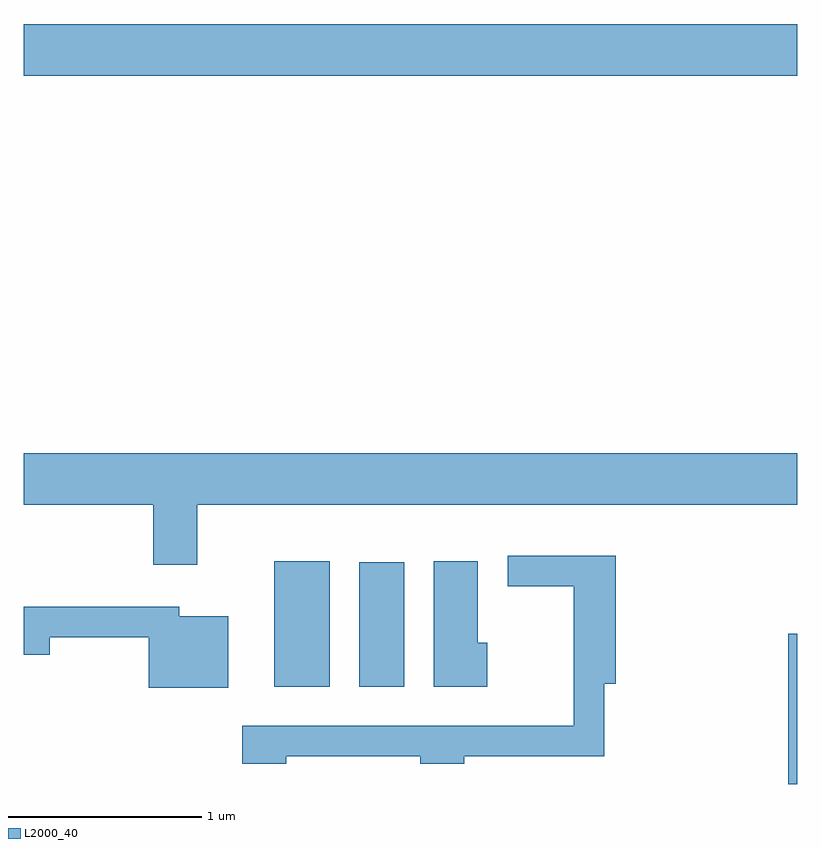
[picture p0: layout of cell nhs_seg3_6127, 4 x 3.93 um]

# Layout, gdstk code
import gdstk
lib = gdstk.Library(unit=1e-6, precision=1e-09)
def R(c, l, rs):  # rectangles x0, y0, x1, y1
    for r in rs: c.add(gdstk.rectangle(r[:2], r[2:], *l))
def P(c, l, *ps):  # polygons
    for p in ps: c.add(gdstk.Polygon(p, *l))
L2000_40 = (2000, 40)

nhs_seg3_6127 = lib.new_cell('nhs_seg3_6127')
R(nhs_seg3_6127, L2000_40, [(369.566,1137.892,369.611,1138.669), (366.906,1138.396,367.194,1139.044), (367.346,1138.396,367.579,1139.039), (365.611,1141.556,369.611,1141.824)])
P(nhs_seg3_6127, L2000_40, [(366.509,1139.336),(369.611,1139.336),(369.611,1139.604),(365.611,1139.604),(365.611,1139.336),(366.281,1139.336),(366.281,1139.026),(366.509,1139.026)],
  [(366.969,1138.036),(367.661,1138.036),(367.661,1137.996),(367.889,1137.996),(367.889,1138.036),(368.614,1138.036),(368.614,1138.411),(368.674,1138.411),(368.674,1139.074),(368.113,1139.074),(368.113,1138.916),(368.456,1138.916),(368.456,1138.194),(366.741,1138.194),(366.741,1137.996),(366.969,1137.996)],
  [(368.009,1138.624),(367.959,1138.624),(367.959,1139.044),(367.731,1139.044),(367.731,1138.396),(368.009,1138.396)],
  [(366.669,1138.759),(366.414,1138.759),(366.414,1138.809),(365.611,1138.809),(365.611,1138.561),(365.744,1138.561),(365.744,1138.651),(366.256,1138.651),(366.256,1138.391),(366.669,1138.391)])

lib.write_gds('nhs_seg3_6127.gds')
